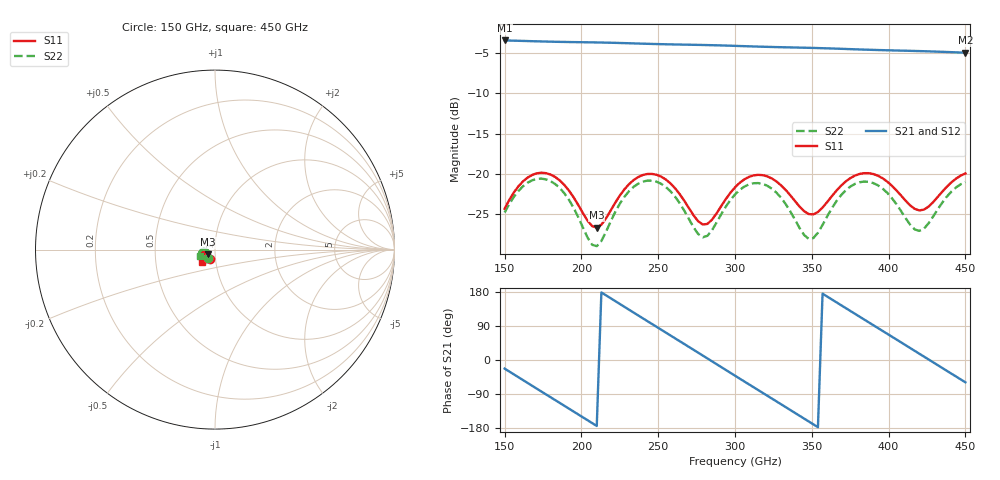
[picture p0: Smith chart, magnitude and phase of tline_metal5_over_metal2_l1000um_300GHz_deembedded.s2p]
! Created with skrf 2.0.1 (http://scikit-rf.org).
# GHz S DB R 50.0
!freq dBS11 angS11 dBS21 angS21 dBS12 angS12 dBS22 angS22
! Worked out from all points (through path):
!   101 points, 150 GHz to 450 GHz, reference 50 ohm
!   highest |S21| = -3.47 dB at 150 GHz (marker M1); lowest = -5.0 dB at 450 GHz (marker M2)
!   group delay of S21, straight-line fit = 7 ps
!   lowest |S11| = -26.6 dB at 210 GHz (marker M3), VSWR 1.10, Z = 46.2 - j2.43 ohm
!   |S11| at or under -10 dB: start of sweep to end of sweep
!   |S22| runs from -28.9 to -20.6 dB; largest |S21 - S12| = 7.5e-14
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150  -24.29 -119.3  -3.47 -22.7  -3.47 -22.7  -24.76 -129.1
165  -20.44 -131.4  -3.55 -60.6  -3.55 -60.6  -21.07 -142.6
177  -19.89 -149.0  -3.61 -90.9  -3.61 -90.9  -20.66 -161.8
201  -24.84 -166.0  -3.69 -151.3  -3.69 -151.3  -26.62 178.1
210  -26.64 -145.7  -3.72 -174.1  -3.72 -174.1  -28.93 -155.0
222  -23.56 -125.9  -3.77 155.5  -3.77 155.5  -24.71 -132.9
234  -20.75 -133.6  -3.84 125.2  -3.84 125.2  -21.59 -143.9
252  -20.33 -156.7  -3.93 79.8  -3.93 79.8  -21.22 -170.5
276  -25.85 -157.5  -4.02 19.4  -4.02 19.4  -27.43 -172.3
288  -24.87 -130.2  -4.07 -11.0  -4.07 -11.0  -26.00 -142.7
300  -21.65 -129.0  -4.14 -41.3  -4.14 -41.3  -22.53 -144.5
312  -20.18 -141.1  -4.22 -71.6  -4.22 -71.6  -21.14 -159.5
324  -20.55 -154.7  -4.28 -101.7  -4.28 -101.7  -21.81 -175.7
339  -23.33 -160.6  -4.35 -139.5  -4.35 -139.5  -25.64 176.6
351  -24.99 -142.8  -4.40 -169.8  -4.40 -169.8  -27.92 -155.6
363  -22.75 -128.5  -4.47 159.9  -4.47 159.9  -24.26 -139.2
378  -20.20 -136.7  -4.57 122.2  -4.57 122.2  -21.23 -152.6
390  -20.00 -149.3  -4.64 92.0  -4.64 92.0  -21.12 -168.7
402  -21.42 -158.7  -4.70 61.9  -4.70 61.9  -22.95 179.2
417  -24.31 -150.2  -4.77 24.2  -4.77 24.2  -26.85 -169.4
426  -24.04 -134.7  -4.82 1.5  -4.82 1.5  -26.11 -148.3
450  -19.93 -136.7  -4.99 -58.9  -4.99 -58.9  -20.99 -156.1
